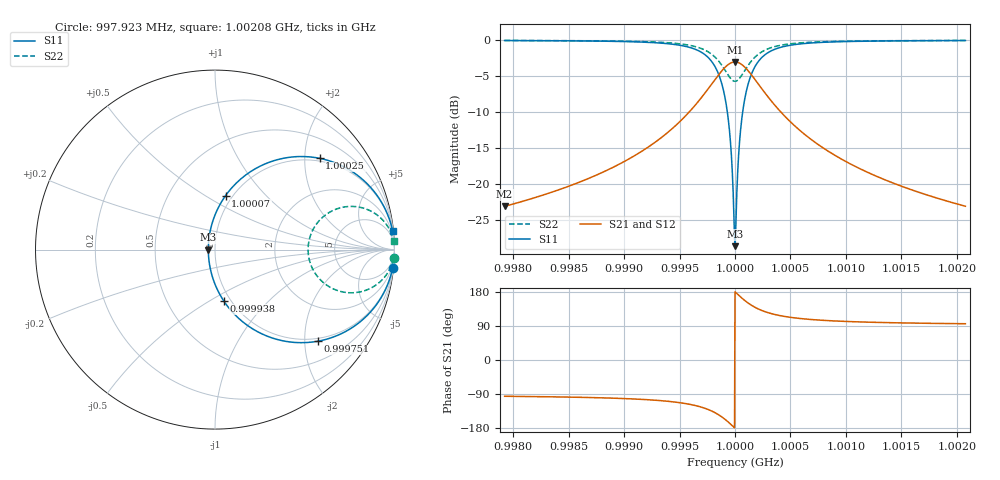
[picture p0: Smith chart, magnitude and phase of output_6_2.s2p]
! File generated for n1 = 6, n2 = 2
! b1 = 2.154435
! b2 = 1.000000
! Q0 = 10000.000000
! f0 = 1000000000.000000
! n = 1001
! rel_span = 10.000000
# Hz S RI R 50
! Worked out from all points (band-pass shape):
!   1001 points, 997.923 MHz to 1.00208 GHz, reference 50 ohm
!   highest |S21| = -3.02 dB at 1 GHz (marker M1); lowest = -23.1 dB at 997.923 MHz (marker M2)
!   |S21| within 3 dB of the highest: 999.7928 MHz to 1.000207 GHz (414.5 kHz wide, 0.0414 % of centre)
!   lowest |S11| = -28.6 dB at 1 GHz (marker M3), VSWR 1.08, Z = 46.4 + j0 ohm
!   |S11| at or under -10 dB: 999.9312 MHz to 1.000069 GHz (137.6 kHz wide, 0.0138 % of centre)
!   |S22| runs from -5.7 to 0.0 dB; largest |S21 - S12| = 0
!   S11 on the Smith chart (normalised r, x): 997.923 MHz: 1, -19; 999.751 MHz: 0.93, -2.31; 999.938 MHz: 0.93, -0.58; 1.00007 GHz: 0.93, +0.62; 1.00025 GHz: 0.93, +2.35; 1.00208 GHz: 1, +19
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9.979228e8  0.9898 -0.1026  -0.00698 -0.0699  -0.00698 -0.0699  0.9952 -0.0476
9.986166e8  0.9772 -0.1522  -0.0156 -0.1037  -0.0156 -0.1037  0.9894 -0.0706
9.993104e8  0.9138 -0.2863  -0.0587 -0.1951  -0.0587 -0.1951  0.96 -0.1329
9.995762e8  0.7991 -0.4099  -0.1369 -0.2792  -0.1369 -0.2792  0.9068 -0.1902
9.996718e8  0.7034 -0.4687  -0.2021 -0.3193  -0.2021 -0.3193  0.8623 -0.2175
9.997507e8  0.575 -0.5101  -0.2896 -0.3475  -0.2896 -0.3475  0.8027 -0.2368
9.998671e8  0.2642 -0.4709  -0.5013 -0.3208  -0.5013 -0.3208  0.6585 -0.2186
9.999086e8  0.1311 -0.3823  -0.592 -0.2605  -0.592 -0.2605  0.5967 -0.1775
9.999377e8  0.0485 -0.2855  -0.6483 -0.1945  -0.6483 -0.1945  0.5583 -0.1325
9.999626e8  -0.00462 -0.1808  -0.6844 -0.1232  -0.6844 -0.1232  0.5337 -0.0839
9.999875e8  -0.0335 -0.062  -0.7041 -0.0422  -0.7041 -0.0422  0.5203 -0.0288
1e9  -0.0372 0  -0.7066 0  -0.7066 0  0.5186 0
1.000012e9  -0.0335 0.062  -0.7041 0.0422  -0.7041 0.0422  0.5203 0.0288
1.000042e9  0.00272 0.1995  -0.6794 0.1359  -0.6794 0.1359  0.5371 0.0926
1.000066e9  0.0592 0.3011  -0.641 0.2051  -0.641 0.2051  0.5633 0.1397
1.000096e9  0.1439 0.3938  -0.5832 0.2683  -0.5832 0.2683  0.6027 0.1828
1.000137e9  0.2775 0.4768  -0.4922 0.3249  -0.4922 0.3249  0.6646 0.2213
1.000253e9  0.5831 0.5085  -0.284 0.3464  -0.284 0.3464  0.8065 0.236
1.000428e9  0.8021 0.4075  -0.1348 0.2776  -0.1348 0.2776  0.9082 0.1892
1.000694e9  0.9146 0.2851  -0.0582 0.1942  -0.0582 0.1942  0.9604 0.1323
1.001388e9  0.9772 0.152  -0.0155 0.1035  -0.0155 0.1035  0.9894 0.0705
1.002077e9  0.9897 0.1028  -0.00701 0.07  -0.00701 0.07  0.9952 0.0477
